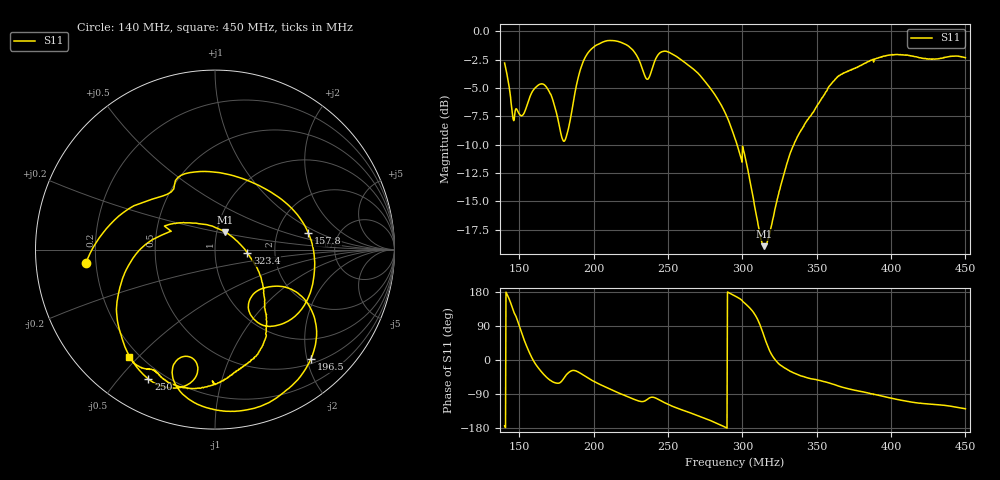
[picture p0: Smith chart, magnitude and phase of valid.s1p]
# Hz S RI R 50
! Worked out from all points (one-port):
!   1010 points, 140 MHz to 450 MHz, reference 50 ohm
!   lowest |S11| = -19.0 dB at 314.8 MHz (marker M1), VSWR 1.25, Z = 54.8 + j10.8 ohm
!   |S11| at or under -10 dB: 296.3 MHz to 334.6 MHz (38.29 MHz wide, 12.1 % of centre)
!   S11 on the Smith chart (normalised r, x): 140 MHz: 0.16, -0.05; 157.8 MHz: 3.03, +0.77; 196.5 MHz: 0.59, -2.07; 250 MHz: 0.14, -0.60; 323.4 MHz: 1.44, -0.06; 450 MHz: 0.16, -0.47
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1.4e8  -0.7205 -0.0745
1.455302e8  -0.2919 0.2985
1.489098e8  -0.0863 0.4348
1.532111e8  0.2677 0.3451
1.578196e8  0.5207 0.0916
1.624281e8  0.5439 -0.1936
1.682655e8  0.3948 -0.4051
1.790187e8  0.2012 -0.2654
1.863923e8  0.4386 -0.2286
1.913081e8  0.5588 -0.4018
1.965311e8  0.5347 -0.6086
2.075915e8  0.2954 -0.8543
2.177302e8  0.0204 -0.8955
2.290979e8  -0.2235 -0.7442
2.349353e8  -0.1804 -0.5971
2.401583e8  -0.1054 -0.7055
2.499898e8  -0.3711 -0.7216
2.564417e8  -0.4676 -0.6088
2.748757e8  -0.5408 -0.2597
2.951532e8  -0.3276 0.0654
3.016051e8  -0.2443 0.1428
3.148161e8  0.0562 0.0976
3.234187e8  0.1807 -0.0189
3.338647e8  0.2594 -0.1683
3.572144e8  0.2859 -0.4761
3.725761e8  0.1497 -0.6563
4.112876e8  -0.2599 -0.7397
4.499991e8  -0.4773 -0.5974
